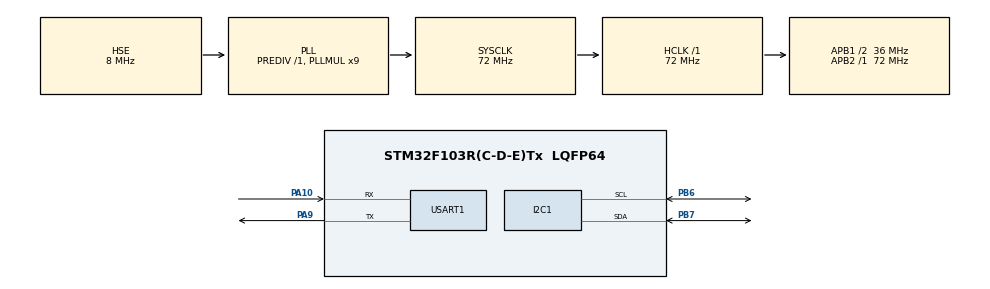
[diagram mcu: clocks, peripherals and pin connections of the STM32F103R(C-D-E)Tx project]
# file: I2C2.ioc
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Mcu.Family=STM32F1
Mcu.Name=STM32F103R(C-D-E)Tx
Mcu.Package=LQFP64
NVIC.PriorityGroup=NVIC_PRIORITYGROUP_4
PA10.Mode=Asynchronous
PA10.Signal=USART1_RX
PA13.Mode=Serial_Wire
PA13.Signal=SYS_JTMS-SWDIO
PA14.Mode=Serial_Wire
PA14.Signal=SYS_JTCK-SWCLK
PA9.Mode=Asynchronous
PA9.Signal=USART1_TX
PB6.Mode=I2C
PB6.Signal=I2C1_SCL
PB7.Mode=I2C
PB7.Signal=I2C1_SDA
PD0-OSC_IN.Mode=HSE-External-Oscillator
PD0-OSC_IN.Signal=RCC_OSC_IN
PD1-OSC_OUT.Mode=HSE-External-Oscillator
PD1-OSC_OUT.Signal=RCC_OSC_OUT
ProjectManager.HeapSize=0x200
ProjectManager.StackSize=0x400
ProjectManager.TargetToolchain=MDK-ARM V5
RCC.AHBFreq_Value=72000000
RCC.APB1CLKDivider=RCC_HCLK_DIV2
RCC.APB1Freq_Value=36000000
RCC.APB1TimFreq_Value=72000000
RCC.APB2Freq_Value=72000000
RCC.APB2TimFreq_Value=72000000
RCC.HCLKFreq_Value=72000000
RCC.PLLMUL=RCC_PLL_MUL9
RCC.PLLSourceVirtual=RCC_PLLSOURCE_HSE
RCC.SYSCLKFreq_VALUE=72000000
RCC.SYSCLKSource=RCC_SYSCLKSOURCE_PLLCLK
RCC.USBFreq_Value=72000000
USART1.VirtualMode=VM_ASYNC
board=custom

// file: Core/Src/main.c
/* USER CODE BEGIN Header */
/**
  ******************************************************************************
  * @file           : main.c
  * @brief          : Main program body
  ******************************************************************************
  * @attention
  *
  * <h2><center>&copy; Copyright (c) 2021 STMicroelectronics.
  * All rights reserved.</center></h2>
  *
  * This software component is licensed by ST under BSD 3-Clause license,
  * the "License"; You may not use this file except in compliance with the
  * License. You may obtain a copy of the License at:
  *                        opensource.org/licenses/BSD-3-Clause
  *
  ******************************************************************************
  */
/* USER CODE END Header */
#include "main.h"
#include "i2c.h"
#include "usart.h"
#include "gpio.h"

/* USER CODE BEGIN PV */
#include "string.h"
uint8_t WriteBuffer[256],ReadBuffer[256];
uint16_t i;
/* USER CODE END PV */

void SystemClock_Config(void);

int main(void)
{

  /* MCU Configuration--------------------------------------------------------*/

  /* Reset of all peripherals, Initializes the Flash interface and the Systick. */
  HAL_Init();

  /* Configure the system clock */
  SystemClock_Config();

  /* Initialize all configured peripherals */
  MX_GPIO_Init();
  MX_I2C1_Init();
  MX_USART1_UART_Init();
  /* USER CODE BEGIN 2 */
for(i=0;i<256;i++)
{
	WriteBuffer[i]=i;
}
printf("***********Test is all ready**********\r\n");
/*for(int j=0;j<32;j++)
{
	if(HAL_I2C_Mem_Write(&hi2c1,0xA0,8*j,I2C_MEMADD_SIZE_8BIT,WriteBuffer+8*j,8,1000)==HAL_OK)
	{
		printf("OK\r\n");
		HAL_Delay(20);
	}
	else
	{
		printf("Not OK\r\n");
		HAL_Delay(20);
	}
}
*/
for(i=0;i<256;i++)
{
	HAL_I2C_Mem_Write(&hi2c1,0xA0,i,I2C_MEMADD_SIZE_8BIT,&WriteBuffer[i],1,1000);
	HAL_Delay(5);
}
printf("OK\r\n");
HAL_I2C_Mem_Read(&hi2c1,0xA1,0,I2C_MEMADD_SIZE_8BIT,ReadBuffer,8,1000);
for(i=0;i<256;i++)
{
	printf("0x%02X",ReadBuffer[i]);
}
  /* USER CODE END 2 */

  /* Infinite loop */
  while (1)
  {

  }
}

void SystemClock_Config(void)
{
  RCC_OscInitTypeDef RCC_OscInitStruct = {0};
  RCC_ClkInitTypeDef RCC_ClkInitStruct = {0};

  /** Initializes the RCC Oscillators according to the specified parameters
  * in the RCC_OscInitTypeDef structure.
  */
  RCC_OscInitStruct.OscillatorType = RCC_OSCILLATORTYPE_HSE;
  RCC_OscInitStruct.HSEState = RCC_HSE_ON;
  RCC_OscInitStruct.HSEPredivValue = RCC_HSE_PREDIV_DIV1;
  RCC_OscInitStruct.HSIState = RCC_HSI_ON;
  RCC_OscInitStruct.PLL.PLLState = RCC_PLL_ON;
  RCC_OscInitStruct.PLL.PLLSource = RCC_PLLSOURCE_HSE;
  RCC_OscInitStruct.PLL.PLLMUL = RCC_PLL_MUL9;
  if (HAL_RCC_OscConfig(&RCC_OscInitStruct) != HAL_OK)
  {
    Error_Handler();
  }
  /** Initializes the CPU, AHB and APB buses clocks
  */
  RCC_ClkInitStruct.ClockType = RCC_CLOCKTYPE_HCLK|RCC_CLOCKTYPE_SYSCLK
                              |RCC_CLOCKTYPE_PCLK1|RCC_CLOCKTYPE_PCLK2;
  RCC_ClkInitStruct.SYSCLKSource = RCC_SYSCLKSOURCE_PLLCLK;
  RCC_ClkInitStruct.AHBCLKDivider = RCC_SYSCLK_DIV1;
  RCC_ClkInitStruct.APB1CLKDivider = RCC_HCLK_DIV2;
  RCC_ClkInitStruct.APB2CLKDivider = RCC_HCLK_DIV1;

  if (HAL_RCC_ClockConfig(&RCC_ClkInitStruct, FLASH_LATENCY_2) != HAL_OK)
  {
    Error_Handler();
  }
}

/* USER CODE BEGIN 4 */
int fputc(int ch, FILE *f)
{
	HAL_UART_Transmit(&huart1, (uint8_t *)&ch, 1, 0xffff);
	return ch;
}
int fgetc(FILE *f)
{
	uint8_t ch = 0;
	HAL_UART_Receive(&huart1, &ch, 1, 0xffff);
	return ch;
}
/* USER CODE END 4 */

void Error_Handler(void)
{
  __disable_irq();
  while (1)
  {
  }
}

/************************ (C) COPYRIGHT STMicroelectronics *****END OF FILE****/
